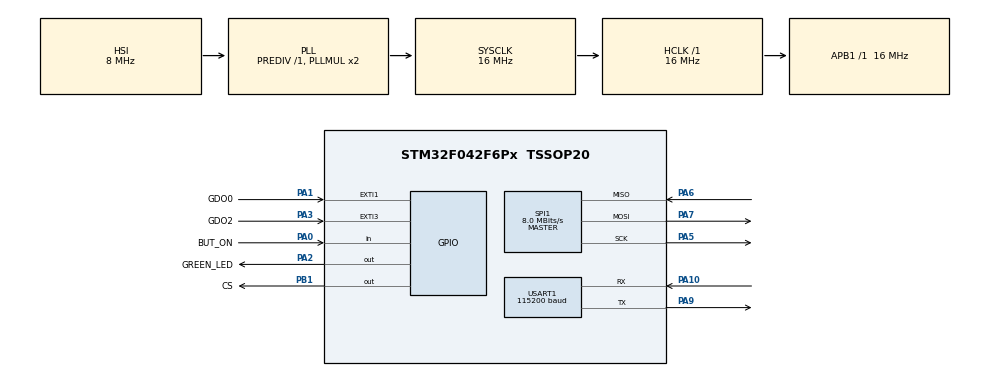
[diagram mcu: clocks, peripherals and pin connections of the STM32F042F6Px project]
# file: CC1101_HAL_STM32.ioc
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Mcu.Family=STM32F0
PA6.Mode=Full_Duplex_Master
PA7.Mode=Full_Duplex_Master
PA10.Mode=Asynchronous
SPI1.VirtualType=VM_MASTER
USART1.BaudRate=115200
PA0.GPIO_Label=BUT_ON
RCC.SYSCLKSource=RCC_SYSCLKSOURCE_PLLCLK
ProjectManager.StackSize=0x400
PA9.Mode=Asynchronous
ProjectManager.TargetToolchain=STM32CubeIDE
SPI1.Direction=SPI_DIRECTION_2LINES
RCC.HCLKFreq_Value=16000000
PA9.Signal=USART1_TX
SPI1.CalculateBaudRate=8.0 MBits/s
PA1.Signal=GPXTI1
RCC.AHBFreq_Value=16000000
PA5.Signal=SPI1_SCK
board=custom
SPI1.Mode=SPI_MODE_MASTER
PB1.GPIO_Label=CS
SPI1.DataSize=SPI_DATASIZE_8BIT
PA1.GPIO_Label=GDO0
Mcu.Name=STM32F042F6Px
VP_TIM1_VS_ClockSourceINT.Mode=Internal
PA2.Signal=GPIO_Output
PA0.Signal=GPIO_Input
RCC.SYSCLKFreq_VALUE=16000000
Mcu.Package=TSSOP20
PB1.Signal=GPIO_Output
PA6.Signal=SPI1_MISO
USART1.VirtualMode=VM_ASYNC
PA2.GPIO_Label=GREEN_LED
PA10.Signal=USART1_RX
ProjectManager.HeapSize=0x200
RCC.APB1TimFreq_Value=16000000
NVIC.USART1_IRQn=true\:0\:0\:false\:false\:true\:true\:true
RCC.APB1Freq_Value=16000000
NVIC.TIM1_BRK_UP_TRG_COM_IRQn=true\:0\:0\:false\:false\:true\:true\:true
PA3.GPIO_Label=GDO2
PA3.Signal=GPXTI3
PA7.Signal=SPI1_MOSI
PA5.Mode=Full_Duplex_Master

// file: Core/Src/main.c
/* USER CODE BEGIN Header */
/**
  ******************************************************************************
  * @file           : main.c
  * @brief          : Main program body
  ******************************************************************************
  * @attention
  *
  * <h2><center>&copy; Copyright (c) 2022 STMicroelectronics.
  * All rights reserved.</center></h2>
  *
  * This software component is licensed by ST under BSD 3-Clause license,
  * the "License"; You may not use this file except in compliance with the
  * License. You may obtain a copy of the License at:
  *                        opensource.org/licenses/BSD-3-Clause
  *
  ******************************************************************************
  */
/* USER CODE END Header */
#include "main.h"
#include "CC1101.h"

/* USER CODE BEGIN PD */
#define G_LED_ON  	HAL_GPIO_WritePin(GREEN_LED_GPIO_Port,GREEN_LED_Pin, SET);
#define G_LED_OFF  	HAL_GPIO_WritePin(GREEN_LED_GPIO_Port,GREEN_LED_Pin, RESET);

#define R_LED_ON  	HAL_GPIO_WritePin(GPIOA,GDO2_Pin, SET);
#define R_LED_OFF  	HAL_GPIO_WritePin(GPIOA,GDO2_Pin, RESET);
/* USER CODE END PD */

SPI_HandleTypeDef hspi1;

TIM_HandleTypeDef htim1;

UART_HandleTypeDef huart1;

void SystemClock_Config(void);
static void MX_GPIO_Init(void);
static void MX_SPI1_Init(void);
static void MX_TIM1_Init(void);
static void MX_USART1_UART_Init(void);
/* USER CODE BEGIN PFP */

void RED_Blink(uint16_t n)
{
	  for (uint16_t i=0;i!=n;i++)
	  {
		  R_LED_ON;
		  HAL_Delay(30);
		  R_LED_OFF;
		  HAL_Delay(100);
	  }
}
void GREEN_Blink(uint16_t n)
{
	  for (uint16_t i=0;i!=n;i++)
	  {
		  G_LED_ON;
		  HAL_Delay(30);
		  G_LED_OFF;
		  HAL_Delay(100);
	  }
}
/* USER CODE END PFP */

/* USER CODE BEGIN 0 */
uint8_t txData[] = {1,2,3,4,5};
uint8_t len = sizeof(txData);
/* USER CODE END 0 */

int main(void)
{

  /* MCU Configuration--------------------------------------------------------*/

  /* Reset of all peripherals, Initializes the Flash interface and the Systick. */
  HAL_Init();

  /* Configure the system clock */
  SystemClock_Config();

  /* Initialize all configured peripherals */
  MX_GPIO_Init();
  MX_SPI1_Init();
  MX_TIM1_Init();
  MX_USART1_UART_Init();

  CC1101_GPIO_Prepare();

  // checking CC1101 connection, green blink ok, red - NOK
  if (CC1101_Init()==CC1101_OK) { GREEN_Blink(5);}
  else							{ RED_Blink(5); }

  CC1101_ToIddle();
 // CC1101_SetBaseFreq(868.3);
 // CC1101_SetChannel(0);
  //CC1101_SetPacketLengthMode(CC1101_DYNAM_PKTLN);
  CC1101_SetISMband(CC1101_MHZ868);
  CC1101_SetTXPower(DBM5);
  CC1101_SetCalibr(CC1101_CAL_4X);
  CC1101_SetPacketLengthMode(CC1101_FIXED_PKTLN);
  CC1101_SetCRCmode(CC1101_EN_CRC);
  CC1101_SetAutoFlushRX(CC1101_EN_FLUSH);

  /* Infinite loop */
  /* USER CODE BEGIN WHILE */

  while (1)
  {
	  static uint32_t start_time = 0;
    /* USER CODE END WHILE */

	  // If CC1101 successfully sent the parcell - blink green
	  if (CC1101_TransmitPacketPooling(txData, len)==CC1101_OK)  { GREEN_Blink(1); }

	  CC1101_ToIddle();
	  CC1101_GoToRX();

	  start_time= HAL_GetTick();

	  // Scanning in RX during 500ms
	  while(HAL_GetTick() -start_time <500)
	  	  {
		  	  // If frame recived - blink red
		  	  if ( CC1101_IsDataAvailable() > 1)
		  	  {
		  		uint8_t data[64];
		  		uint8_t RSSI, LQI;
		  		CC1101_ReadPacket(data, &RSSI, &LQI);

		  		RED_Blink(1);
		  	  }

	  	  }

  }
}

void SystemClock_Config(void)
{
  RCC_OscInitTypeDef RCC_OscInitStruct = {0};
  RCC_ClkInitTypeDef RCC_ClkInitStruct = {0};
  RCC_PeriphCLKInitTypeDef PeriphClkInit = {0};

  /** Initializes the RCC Oscillators according to the specified parameters
  * in the RCC_OscInitTypeDef structure.
  */
  RCC_OscInitStruct.OscillatorType = RCC_OSCILLATORTYPE_HSI;
  RCC_OscInitStruct.HSIState = RCC_HSI_ON;
  RCC_OscInitStruct.HSICalibrationValue = RCC_HSICALIBRATION_DEFAULT;
  RCC_OscInitStruct.PLL.PLLState = RCC_PLL_ON;
  RCC_OscInitStruct.PLL.PLLSource = RCC_PLLSOURCE_HSI;
  RCC_OscInitStruct.PLL.PLLMUL = RCC_PLL_MUL2;
  RCC_OscInitStruct.PLL.PREDIV = RCC_PREDIV_DIV1;
  if (HAL_RCC_OscConfig(&RCC_OscInitStruct) != HAL_OK)
  {
    Error_Handler();
  }
  /** Initializes the CPU, AHB and APB buses clocks
  */
  RCC_ClkInitStruct.ClockType = RCC_CLOCKTYPE_HCLK|RCC_CLOCKTYPE_SYSCLK
                              |RCC_CLOCKTYPE_PCLK1;
  RCC_ClkInitStruct.SYSCLKSource = RCC_SYSCLKSOURCE_PLLCLK;
  RCC_ClkInitStruct.AHBCLKDivider = RCC_SYSCLK_DIV1;
  RCC_ClkInitStruct.APB1CLKDivider = RCC_HCLK_DIV1;

  if (HAL_RCC_ClockConfig(&RCC_ClkInitStruct, FLASH_LATENCY_0) != HAL_OK)
  {
    Error_Handler();
  }
  PeriphClkInit.PeriphClockSelection = RCC_PERIPHCLK_USART1;
  PeriphClkInit.Usart1ClockSelection = RCC_USART1CLKSOURCE_PCLK1;
  if (HAL_RCCEx_PeriphCLKConfig(&PeriphClkInit) != HAL_OK)
  {
    Error_Handler();
  }
}

static void MX_SPI1_Init(void)
{

  /* SPI1 parameter configuration*/
  hspi1.Instance = SPI1;
  hspi1.Init.Mode = SPI_MODE_MASTER;
  hspi1.Init.Direction = SPI_DIRECTION_2LINES;
  hspi1.Init.DataSize = SPI_DATASIZE_8BIT;
  hspi1.Init.CLKPolarity = SPI_POLARITY_LOW;
  hspi1.Init.CLKPhase = SPI_PHASE_1EDGE;
  hspi1.Init.NSS = SPI_NSS_SOFT;
  hspi1.Init.BaudRatePrescaler = SPI_BAUDRATEPRESCALER_2;
  hspi1.Init.FirstBit = SPI_FIRSTBIT_MSB;
  hspi1.Init.TIMode = SPI_TIMODE_DISABLE;
  hspi1.Init.CRCCalculation = SPI_CRCCALCULATION_DISABLE;
  hspi1.Init.CRCPolynomial = 7;
  hspi1.Init.CRCLength = SPI_CRC_LENGTH_DATASIZE;
  hspi1.Init.NSSPMode = SPI_NSS_PULSE_ENABLE;
  if (HAL_SPI_Init(&hspi1) != HAL_OK)
  {
    Error_Handler();
  }

}

static void MX_TIM1_Init(void)
{

  TIM_ClockConfigTypeDef sClockSourceConfig = {0};
  TIM_MasterConfigTypeDef sMasterConfig = {0};

  htim1.Instance = TIM1;
  htim1.Init.Prescaler = 0;
  htim1.Init.CounterMode = TIM_COUNTERMODE_UP;
  htim1.Init.Period = 65535;
  htim1.Init.ClockDivision = TIM_CLOCKDIVISION_DIV1;
  htim1.Init.RepetitionCounter = 0;
  htim1.Init.AutoReloadPreload = TIM_AUTORELOAD_PRELOAD_DISABLE;
  if (HAL_TIM_Base_Init(&htim1) != HAL_OK)
  {
    Error_Handler();
  }
  sClockSourceConfig.ClockSource = TIM_CLOCKSOURCE_INTERNAL;
  if (HAL_TIM_ConfigClockSource(&htim1, &sClockSourceConfig) != HAL_OK)
  {
    Error_Handler();
  }
  sMasterConfig.MasterOutputTrigger = TIM_TRGO_RESET;
  sMasterConfig.MasterSlaveMode = TIM_MASTERSLAVEMODE_DISABLE;
  if (HAL_TIMEx_MasterConfigSynchronization(&htim1, &sMasterConfig) != HAL_OK)
  {
    Error_Handler();
  }

}

static void MX_USART1_UART_Init(void)
{

  huart1.Instance = USART1;
  huart1.Init.BaudRate = 115200;
  huart1.Init.WordLength = UART_WORDLENGTH_8B;
  huart1.Init.StopBits = UART_STOPBITS_1;
  huart1.Init.Parity = UART_PARITY_NONE;
  huart1.Init.Mode = UART_MODE_TX_RX;
  huart1.Init.HwFlowCtl = UART_HWCONTROL_NONE;
  huart1.Init.OverSampling = UART_OVERSAMPLING_16;
  huart1.Init.OneBitSampling = UART_ONE_BIT_SAMPLE_DISABLE;
  huart1.AdvancedInit.AdvFeatureInit = UART_ADVFEATURE_NO_INIT;
  if (HAL_UART_Init(&huart1) != HAL_OK)
  {
    Error_Handler();
  }

}

static void MX_GPIO_Init(void)
{
  GPIO_InitTypeDef GPIO_InitStruct = {0};

  /* GPIO Ports Clock Enable */
  __HAL_RCC_GPIOA_CLK_ENABLE();
  __HAL_RCC_GPIOB_CLK_ENABLE();

  /*Configure GPIO pin Output Level */
  HAL_GPIO_WritePin(GREEN_LED_GPIO_Port, GREEN_LED_Pin, GPIO_PIN_RESET);

  /*Configure GPIO pin Output Level */
  HAL_GPIO_WritePin(CS_GPIO_Port, CS_Pin, GPIO_PIN_RESET);

  /*Configure GPIO pin : BUT_ON_Pin */
  GPIO_InitStruct.Pin = BUT_ON_Pin;
  GPIO_InitStruct.Mode = GPIO_MODE_INPUT;
  GPIO_InitStruct.Pull = GPIO_NOPULL;
  HAL_GPIO_Init(BUT_ON_GPIO_Port, &GPIO_InitStruct);

  /*Configure GPIO pins : GDO0_Pin GDO2_Pin */
  /*
  GPIO_InitStruct.Pin = GDO0_Pin|GDO2_Pin;
  GPIO_InitStruct.Mode = GPIO_MODE_IT_RISING;
  GPIO_InitStruct.Pull = GPIO_NOPULL;
  HAL_GPIO_Init(GPIOA, &GPIO_InitStruct);
  */
  /*Configure GPIO pin : GREEN_LED_Pin */
  GPIO_InitStruct.Pin = GREEN_LED_Pin;
  GPIO_InitStruct.Mode = GPIO_MODE_OUTPUT_PP;
  GPIO_InitStruct.Pull = GPIO_NOPULL;
  GPIO_InitStruct.Speed = GPIO_SPEED_FREQ_LOW;
  HAL_GPIO_Init(GREEN_LED_GPIO_Port, &GPIO_InitStruct);

  /*Configure GPIO pin : RED_LED_Pin */
  GPIO_InitStruct.Pin = GDO2_Pin;
  GPIO_InitStruct.Mode = GPIO_MODE_OUTPUT_PP;
  GPIO_InitStruct.Pull = GPIO_NOPULL;
  GPIO_InitStruct.Speed = GPIO_SPEED_FREQ_LOW;
  HAL_GPIO_Init(GPIOA, &GPIO_InitStruct);

  /*Configure GPIO pin : CS_Pin */
  GPIO_InitStruct.Pin = CS_Pin;
  GPIO_InitStruct.Mode = GPIO_MODE_OUTPUT_PP;
  GPIO_InitStruct.Pull = GPIO_NOPULL;
  GPIO_InitStruct.Speed = GPIO_SPEED_FREQ_LOW;
  HAL_GPIO_Init(CS_GPIO_Port, &GPIO_InitStruct);

}

void Error_Handler(void)
{
  __disable_irq();
  while (1)
  {
  }
}

/************************ (C) COPYRIGHT STMicroelectronics *****END OF FILE****/
